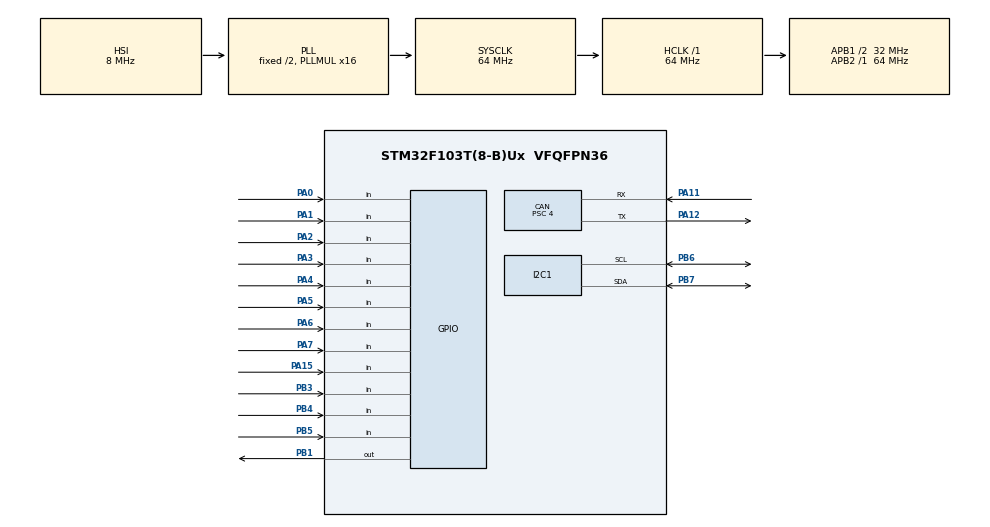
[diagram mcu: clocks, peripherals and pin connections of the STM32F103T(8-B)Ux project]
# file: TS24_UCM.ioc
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CAN.ABOM=ENABLE
CAN.BS1=CAN_BS1_11TQ
CAN.BS2=CAN_BS2_4TQ
CAN.CalculateBaudRate=500000
CAN.CalculateTimeBit=2000
CAN.CalculateTimeQuantum=125.0
CAN.NART=ENABLE
CAN.Prescaler=4
CAN.SJW=CAN_SJW_4TQ
Mcu.Family=STM32F1
Mcu.Name=STM32F103T(8-B)Ux
Mcu.Package=VFQFPN36
NVIC.PriorityGroup=NVIC_PRIORITYGROUP_4
NVIC.TIM2_IRQn=true\:0\:0\:false\:false\:true\:true\:true\:true
NVIC.TIM3_IRQn=true\:0\:0\:false\:false\:true\:true\:true\:true
NVIC.USB_LP_CAN1_RX0_IRQn=true\:0\:0\:false\:false\:true\:true\:true\:true
PA0-WKUP.Signal=GPIO_Input
PA1.Signal=GPIO_Input
PA11.Mode=CAN_Activate
PA11.Signal=CAN_RX
PA12.Mode=CAN_Activate
PA12.Signal=CAN_TX
PA13.Mode=Serial_Wire
PA13.Signal=SYS_JTMS-SWDIO
PA14.Mode=Serial_Wire
PA14.Signal=SYS_JTCK-SWCLK
PA15.Signal=GPIO_Input
PA2.Signal=GPIO_Input
PA3.Signal=GPIO_Input
PA4.Signal=GPIO_Input
PA5.Signal=GPIO_Input
PA6.Signal=GPIO_Input
PA7.Signal=GPIO_Input
PB1.Signal=GPIO_Output
PB3.GPIO_PuPd=GPIO_NOPULL
PB3.Signal=GPIO_Input
PB4.Signal=GPIO_Input
PB5.Signal=GPIO_Input
PB6.Mode=I2C
PB6.Signal=I2C1_SCL
PB7.Mode=I2C
PB7.Signal=I2C1_SDA
ProjectManager.HeapSize=0x200
ProjectManager.StackSize=0x400
ProjectManager.TargetToolchain=STM32CubeIDE
RCC.AHBFreq_Value=64000000
RCC.APB1CLKDivider=RCC_HCLK_DIV2
RCC.APB1Freq_Value=32000000
RCC.APB1TimFreq_Value=64000000
RCC.APB2Freq_Value=64000000
RCC.APB2TimFreq_Value=64000000
RCC.HCLKFreq_Value=64000000
RCC.PLLMUL=RCC_PLL_MUL16
RCC.SYSCLKFreq_VALUE=64000000
RCC.SYSCLKSource=RCC_SYSCLKSOURCE_PLLCLK
RCC.USBFreq_Value=64000000
TIM2.AutoReloadPreload=TIM_AUTORELOAD_PRELOAD_ENABLE
TIM2.Period=2599
TIM2.Prescaler=99
TIM3.Period=63999
VP_TIM2_VS_ClockSourceINT.Mode=Internal
VP_TIM3_VS_ClockSourceINT.Mode=Internal
board=custom

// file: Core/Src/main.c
/* USER CODE BEGIN Header */
/**
  ******************************************************************************
  * @file           : main.c
  * @brief          : Main program body
  ******************************************************************************
  * @attention
  *
  * Copyright (c) 2024 STMicroelectronics.
  * All rights reserved.
  *
  * This software is licensed under terms that can be found in the LICENSE file
  * in the root directory of this software component.
  * If no LICENSE file comes with this software, it is provided AS-IS.
  *
  ******************************************************************************
  */
/* USER CODE END Header */
#include "main.h"

/* USER CODE BEGIN Includes */
#include "UCM.h"
/* USER CODE END Includes */

CAN_HandleTypeDef hcan;

I2C_HandleTypeDef hi2c1;

TIM_HandleTypeDef htim2;
TIM_HandleTypeDef htim3;

void SystemClock_Config(void);
static void MX_GPIO_Init(void);
static void MX_CAN_Init(void);
static void MX_TIM2_Init(void);
static void MX_TIM3_Init(void);
static void MX_I2C1_Init(void);

int main(void)
{

  /* USER CODE BEGIN 1 */
  //HAL_NVIC_SetPriority();
  /* USER CODE END 1 */

  /* MCU Configuration--------------------------------------------------------*/

  /* Reset of all peripherals, Initializes the Flash interface and the Systick. */
  HAL_Init();

  /* Configure the system clock */
  SystemClock_Config();

  /* USER CODE BEGIN SysInit */
  HAL_CAN_MspInit(&hcan);
  /* USER CODE END SysInit */

  /* Initialize all configured peripherals */
  MX_GPIO_Init();
  MX_CAN_Init();
  MX_TIM2_Init();
  MX_TIM3_Init();
  MX_I2C1_Init();
  /* USER CODE BEGIN 2 */
  ioAssign();

  EEPROM_24FC_Init(&hi2c1);
  ReadEEPROMconfig();

  canFramesDefine();

  ConfigurePullUpDownResistors();

  TickerAttach(&Ticker, &TransmitHeartBeat, CAN_RATE_1000MS);
  TickerAttach(&Ticker, &TransmitSingleEndedVoltage, CAN_RATE_1000MS);
  TickerAttach(&Ticker, &TransmitDifferentialVoltage, CAN_RATE_1000MS);

  HAL_CAN_Start(&hcan);

  HAL_TIM_Base_Start_IT(&htim2);
  HAL_TIM_Base_Start_IT(&htim3); //Start timer for ticker

  ADS122C04_Init(&hi2c1);

  ConfigureReceiveFilter();

  OffsetCalibrationADC();

  /*
  EEPROM_24FC_ByteWrite(0, 1);
  EEPROM_24FC_ByteWrite(1, 230);
  EEPROM_24FC_ByteWrite(2, 12);
  EEPROM_24FC_ByteWrite(3, 82);
  EEPROM_24FC_ByteWrite(4, 19);
  EEPROM_24FC_ByteWrite(5, 0);
  EEPROM_24FC_ByteWrite(6, 0);
  EEPROM_24FC_ByteWrite(7, 0);
  EEPROM_24FC_ByteWrite(8, 0);
  EEPROM_24FC_ByteWrite(9, 4);
  EEPROM_24FC_ByteWrite(10, 5);
  EEPROM_24FC_ByteWrite(11, 5);
  EEPROM_24FC_ByteWrite(12, 5);
  EEPROM_24FC_ByteWrite(13, 0);
  EEPROM_24FC_ByteWrite(14, 0);
  EEPROM_24FC_ByteWrite(15, 7);
  EEPROM_24FC_ByteWrite(16, 7);
  */

  ConfigureDigitalOutputs();

  /* USER CODE END 2 */

  /* Infinite loop */
  while (1)
  {

    /* USER CODE BEGIN 3 */
	  CheckReceivedCAN();
	  ReadSingleEndedVoltage();
	  ReadDiffVoltage();
  }
  /* USER CODE END 3 */
}

void SystemClock_Config(void)
{
  RCC_OscInitTypeDef RCC_OscInitStruct = {0};
  RCC_ClkInitTypeDef RCC_ClkInitStruct = {0};

  /** Initializes the RCC Oscillators according to the specified parameters
  * in the RCC_OscInitTypeDef structure.
  */
  RCC_OscInitStruct.OscillatorType = RCC_OSCILLATORTYPE_HSI;
  RCC_OscInitStruct.HSIState = RCC_HSI_ON;
  RCC_OscInitStruct.HSICalibrationValue = RCC_HSICALIBRATION_DEFAULT;
  RCC_OscInitStruct.PLL.PLLState = RCC_PLL_ON;
  RCC_OscInitStruct.PLL.PLLSource = RCC_PLLSOURCE_HSI_DIV2;
  RCC_OscInitStruct.PLL.PLLMUL = RCC_PLL_MUL16;
  if (HAL_RCC_OscConfig(&RCC_OscInitStruct) != HAL_OK)
  {
    Error_Handler();
  }

  /** Initializes the CPU, AHB and APB buses clocks
  */
  RCC_ClkInitStruct.ClockType = RCC_CLOCKTYPE_HCLK|RCC_CLOCKTYPE_SYSCLK
                              |RCC_CLOCKTYPE_PCLK1|RCC_CLOCKTYPE_PCLK2;
  RCC_ClkInitStruct.SYSCLKSource = RCC_SYSCLKSOURCE_PLLCLK;
  RCC_ClkInitStruct.AHBCLKDivider = RCC_SYSCLK_DIV1;
  RCC_ClkInitStruct.APB1CLKDivider = RCC_HCLK_DIV2;
  RCC_ClkInitStruct.APB2CLKDivider = RCC_HCLK_DIV1;

  if (HAL_RCC_ClockConfig(&RCC_ClkInitStruct, FLASH_LATENCY_2) != HAL_OK)
  {
    Error_Handler();
  }
}

static void MX_CAN_Init(void)
{

  hcan.Instance = CAN1;
  hcan.Init.Prescaler = 4;
  hcan.Init.Mode = CAN_MODE_NORMAL;
  hcan.Init.SyncJumpWidth = CAN_SJW_4TQ;
  hcan.Init.TimeSeg1 = CAN_BS1_11TQ;
  hcan.Init.TimeSeg2 = CAN_BS2_4TQ;
  hcan.Init.TimeTriggeredMode = DISABLE;
  hcan.Init.AutoBusOff = ENABLE;
  hcan.Init.AutoWakeUp = DISABLE;
  hcan.Init.AutoRetransmission = ENABLE;
  hcan.Init.ReceiveFifoLocked = DISABLE;
  hcan.Init.TransmitFifoPriority = DISABLE;
  if (HAL_CAN_Init(&hcan) != HAL_OK)
  {
    Error_Handler();
  }

}

static void MX_I2C1_Init(void)
{

  hi2c1.Instance = I2C1;
  hi2c1.Init.ClockSpeed = 100000;
  hi2c1.Init.DutyCycle = I2C_DUTYCYCLE_2;
  hi2c1.Init.OwnAddress1 = 0;
  hi2c1.Init.AddressingMode = I2C_ADDRESSINGMODE_7BIT;
  hi2c1.Init.DualAddressMode = I2C_DUALADDRESS_DISABLE;
  hi2c1.Init.OwnAddress2 = 0;
  hi2c1.Init.GeneralCallMode = I2C_GENERALCALL_DISABLE;
  hi2c1.Init.NoStretchMode = I2C_NOSTRETCH_DISABLE;
  if (HAL_I2C_Init(&hi2c1) != HAL_OK)
  {
    Error_Handler();
  }

}

static void MX_TIM2_Init(void)
{

  TIM_ClockConfigTypeDef sClockSourceConfig = {0};
  TIM_MasterConfigTypeDef sMasterConfig = {0};

  htim2.Instance = TIM2;
  htim2.Init.Prescaler = 99;
  htim2.Init.CounterMode = TIM_COUNTERMODE_UP;
  htim2.Init.Period = 2599;
  htim2.Init.ClockDivision = TIM_CLOCKDIVISION_DIV1;
  htim2.Init.AutoReloadPreload = TIM_AUTORELOAD_PRELOAD_ENABLE;
  if (HAL_TIM_Base_Init(&htim2) != HAL_OK)
  {
    Error_Handler();
  }
  sClockSourceConfig.ClockSource = TIM_CLOCKSOURCE_INTERNAL;
  if (HAL_TIM_ConfigClockSource(&htim2, &sClockSourceConfig) != HAL_OK)
  {
    Error_Handler();
  }
  sMasterConfig.MasterOutputTrigger = TIM_TRGO_RESET;
  sMasterConfig.MasterSlaveMode = TIM_MASTERSLAVEMODE_DISABLE;
  if (HAL_TIMEx_MasterConfigSynchronization(&htim2, &sMasterConfig) != HAL_OK)
  {
    Error_Handler();
  }

}

static void MX_TIM3_Init(void)
{

  TIM_ClockConfigTypeDef sClockSourceConfig = {0};
  TIM_MasterConfigTypeDef sMasterConfig = {0};

  htim3.Instance = TIM3;
  htim3.Init.Prescaler = 0;
  htim3.Init.CounterMode = TIM_COUNTERMODE_UP;
  htim3.Init.Period = 63999;
  htim3.Init.ClockDivision = TIM_CLOCKDIVISION_DIV1;
  htim3.Init.AutoReloadPreload = TIM_AUTORELOAD_PRELOAD_DISABLE;
  if (HAL_TIM_Base_Init(&htim3) != HAL_OK)
  {
    Error_Handler();
  }
  sClockSourceConfig.ClockSource = TIM_CLOCKSOURCE_INTERNAL;
  if (HAL_TIM_ConfigClockSource(&htim3, &sClockSourceConfig) != HAL_OK)
  {
    Error_Handler();
  }
  sMasterConfig.MasterOutputTrigger = TIM_TRGO_RESET;
  sMasterConfig.MasterSlaveMode = TIM_MASTERSLAVEMODE_DISABLE;
  if (HAL_TIMEx_MasterConfigSynchronization(&htim3, &sMasterConfig) != HAL_OK)
  {
    Error_Handler();
  }

}

static void MX_GPIO_Init(void)
{
  GPIO_InitTypeDef GPIO_InitStruct = {0};

  /* GPIO Ports Clock Enable */
  __HAL_RCC_GPIOA_CLK_ENABLE();
  __HAL_RCC_GPIOB_CLK_ENABLE();

  /*Configure GPIO pin Output Level */
  HAL_GPIO_WritePin(GPIOB, GPIO_PIN_1, GPIO_PIN_RESET);

  /*Configure GPIO pins : PA0 PA1 PA2 PA3
                           PA4 PA5 PA6 PA7
                           PA15 */
  GPIO_InitStruct.Pin = GPIO_PIN_0|GPIO_PIN_1|GPIO_PIN_2|GPIO_PIN_3
                          |GPIO_PIN_4|GPIO_PIN_5|GPIO_PIN_6|GPIO_PIN_7
                          |GPIO_PIN_15;
  GPIO_InitStruct.Mode = GPIO_MODE_INPUT;
  GPIO_InitStruct.Pull = GPIO_NOPULL;
  HAL_GPIO_Init(GPIOA, &GPIO_InitStruct);

  /*Configure GPIO pin : PB1 */
  GPIO_InitStruct.Pin = GPIO_PIN_1;
  GPIO_InitStruct.Mode = GPIO_MODE_OUTPUT_PP;
  GPIO_InitStruct.Pull = GPIO_NOPULL;
  GPIO_InitStruct.Speed = GPIO_SPEED_FREQ_LOW;
  HAL_GPIO_Init(GPIOB, &GPIO_InitStruct);

  /*Configure GPIO pins : PB3 PB4 PB5 */
  GPIO_InitStruct.Pin = GPIO_PIN_3|GPIO_PIN_4|GPIO_PIN_5;
  GPIO_InitStruct.Mode = GPIO_MODE_INPUT;
  GPIO_InitStruct.Pull = GPIO_NOPULL;
  HAL_GPIO_Init(GPIOB, &GPIO_InitStruct);

}

/* USER CODE BEGIN 4 */
void HAL_TIM_PeriodElapsedCallback(TIM_HandleTypeDef* htim)
{
	if(htim->Instance == TIM3)
	{
		TickerHandler(&Ticker);
	}
}

void HAL_CAN_RxFifo0MsgPendingCallback(CAN_HandleTypeDef *hcan)
{

  HAL_CAN_IRQHandler(hcan);
}
/* USER CODE END 4 */

void Error_Handler(void)
{
  /* USER CODE BEGIN Error_Handler_Debug */
  /* User can add his own implementation to report the HAL error return state */
  __disable_irq();
  while (1)
  {
	  return;
  }
  /* USER CODE END Error_Handler_Debug */
}
